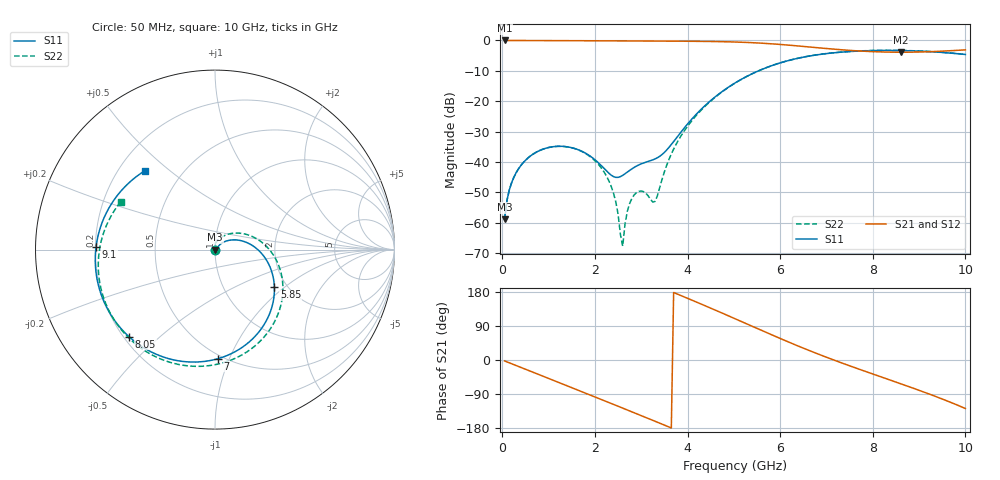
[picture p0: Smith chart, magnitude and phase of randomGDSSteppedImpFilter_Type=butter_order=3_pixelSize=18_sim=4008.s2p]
! freq	dB(S11)	phase(S11)	dB(S12)	phase(S12)
!  dB(S21)	phase(S21)	dB(S22)	phase(S22)
!S-par simulation data
#  GHz  S  DB  R 50
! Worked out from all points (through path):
!   200 points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, 50 MHz to 10 GHz, reference 50 ohm
!   highest |S21| = -0.01 dB at 50 MHz (marker M1); lowest = -3.9 dB at 8.6 GHz (marker M2)
!   group delay of S21, straight-line fit = 137 ps
!   lowest |S11| = -58.9 dB at 50 MHz (marker M3), VSWR 1.00, Z = 50 - j0.11 ohm
!   |S11| at or under -10 dB: start of sweep to 5.533 GHz
!   |S22| runs from -67.7 to -3.3 dB; largest |S21 - S12| = 0
!   S11 on the Smith chart (normalised r, x): 50 MHz: 1.00, -0.00; 5.85 GHz: 1.72, -0.86; 7 GHz: 0.47, -0.91; 8.05 GHz: 0.22, -0.40; 9.1 GHz: 0.20, +0.01; 10 GHz: 0.31, +0.42
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0.05  -58.86 -74.2  -0.01 -2.5  -0.01 -2.5  -58.86 -74.2
0.2  -46.86 -94.5  -0.02 -9.8  -0.02 -9.8  -46.86 -94.4
0.55  -38.74 -116.9  -0.04 -26.8  -0.04 -26.8  -38.73 -116.7
1.15  -34.88 -149.8  -0.07 -56.0  -0.07 -56.0  -34.88 -148.7
1.75  -36.72 174.4  -0.10 -85.2  -0.10 -85.2  -36.80 179.9
2.35  -44.32 103.9  -0.13 -114.6  -0.13 -114.6  -47.95 143.9
2.6  -44.41 48.8  -0.15 -126.9  -0.15 -126.9  -67.70 15.2
2.7  -43.33 33.1  -0.16 -131.9  -0.16 -131.9  -56.23 -40.2
2.8  -42.25 22.2  -0.16 -136.8  -0.16 -136.8  -51.95 -52.4
3  -40.61 11.0  -0.18 -146.8  -0.18 -146.8  -49.55 -72.9
3.3  -38.99 16.4  -0.20 -161.7  -0.20 -161.7  -52.97 -163.5
3.4  -38.12 23.2  -0.21 -166.7  -0.21 -166.7  -48.39 149.9
4  -27.50 45.0  -0.26 162.8  -0.26 162.8  -28.24 83.1
5.05  -13.77 7.3  -0.52 107.7  -0.52 107.7  -13.81 23.4
5.85  -8.13 -32.4  -1.15 64.7  -1.15 64.7  -8.12 -19.9
6.7  -4.96 -74.3  -2.25 21.5  -2.25 21.5  -4.94 -63.0
7  -4.33 -88.4  -2.66 7.3  -2.66 7.3  -4.30 -77.1
8.05  -3.33 -134.7  -3.72 -39.1  -3.72 -39.1  -3.29 -122.3
8.35  -3.29 -147.7  -3.85 -51.8  -3.85 -51.8  -3.25 -134.6
8.6  -3.33 -158.7  -3.88 -62.5  -3.88 -62.5  -3.29 -144.9
9.1  -3.58 178.5  -3.77 -84.4  -3.77 -84.4  -3.53 -165.7
10  -4.62 131.4  -3.10 -128.0  -3.10 -128.0  -4.60 153.2
